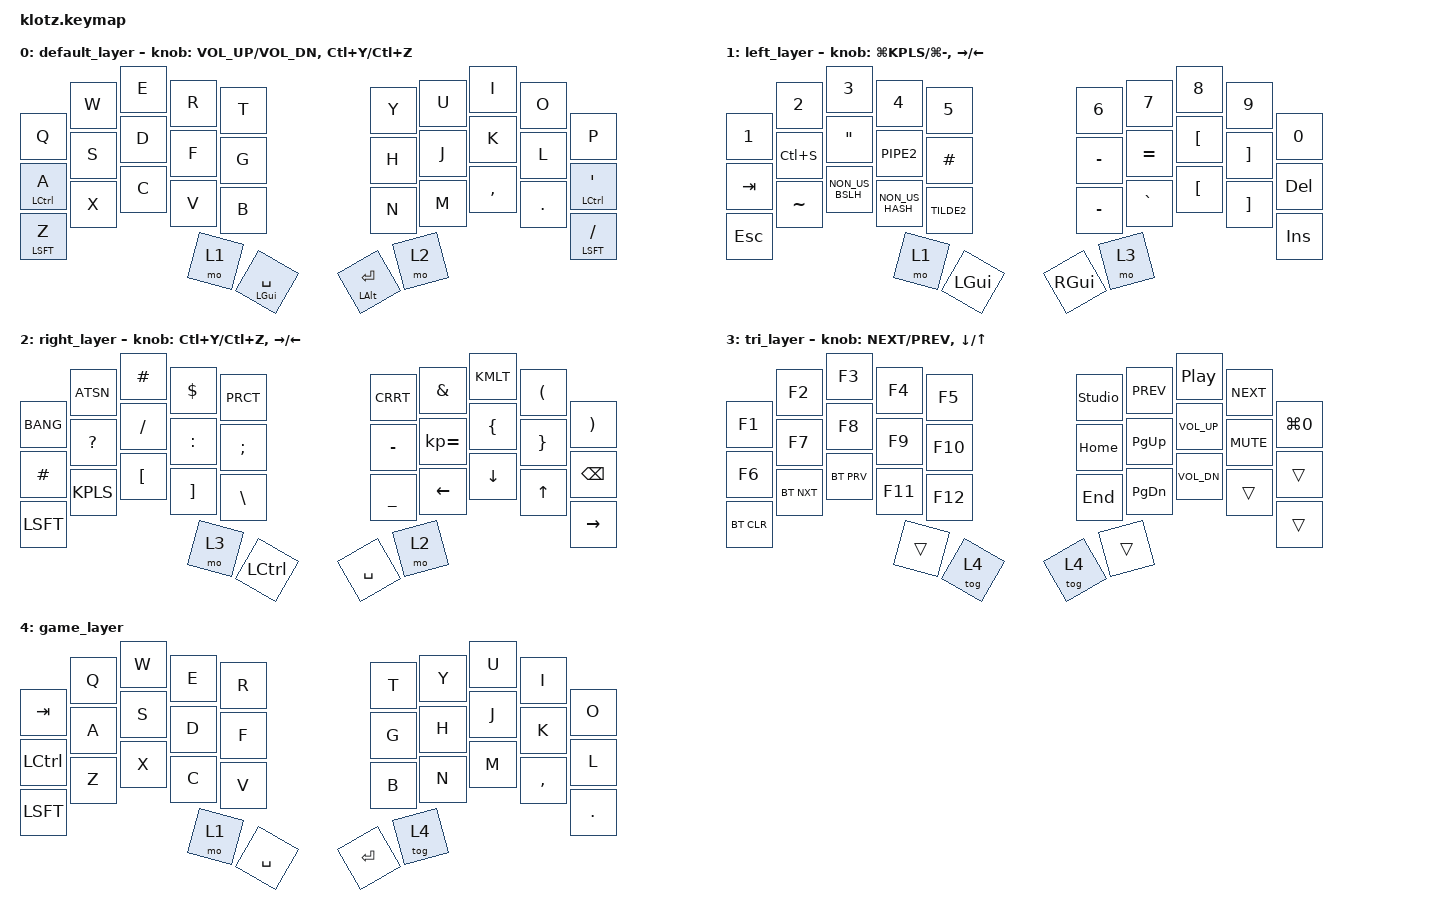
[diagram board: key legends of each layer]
/*
 * Copyright (c) 2020 The ZMK Contributors
 *
 * SPDX-License-Identifier: MIT
 */

#include <behaviors.dtsi>
#include <dt-bindings/zmk/keys.h>
#include <dt-bindings/zmk/bt.h>
#include <dt-bindings/zmk/outputs.h>
#include <dt-bindings/zmk/backlight.h>


&mt {
  quick-tap-ms = <100>;
  global-quick-tap;
  flavor = "tap-preferred";
  tapping-term-ms = <170>;
};

/ {
  keymap {
    compatible = "zmk,keymap";
    display-name = "BASE";
    default_layer {
      bindings = <
        &kp Q      &kp W &kp E &kp R &kp T        &kp Y        &kp U &kp I    &kp O   &kp P
        &mt LCTL A &kp S &kp D &kp F &kp G        &kp H        &kp J &kp K    &kp L   &mt LCTL QUOT
        &mt LSFT Z &kp X &kp C &kp V &kp B        &kp N        &kp M &kp CMMA &kp DOT &mt LSFT FSLH
                               &mo 1 &mt LGUI SPC &mt LALT RET &mo 2
      >;
            sensor-bindings = <&inc_dec_kp C_VOL_UP C_VOL_DN &inc_dec_kp LC(Y) LC(Z)>;
    };

    display-name = "LEFT";
    left_layer {
      bindings = <
        &kp NUM_1 &kp NUM_2 &kp NUM_3       &kp NUM_4       &kp NUM_5  &kp NUM_6 &kp NUM_7 &kp NUM_8 &kp NUM_9 &kp NUM_0
        &kp TAB   &kp LC(S) &kp DQT         &kp PIPE2       &kp HASH   &kp MINUS &kp EQL   &kp LBKT  &kp RBKT  &kp DEL
        &kp ESC   &kp TILDE &kp NON_US_BSLH &kp NON_US_HASH &kp TILDE2 &kp MINUS &kp GRAVE &kp LBKT  &kp RBKT  &kp INS
                                            &mo 1           &kp LGUI   &kp RGUI  &mo 3
      >;
            sensor-bindings = <&inc_dec_kp LG(KPLS) LG(MINUS) &inc_dec_kp RIGHT LEFT>;
    };

    display-name = "RIGHT";
    right_layer {
      bindings = <
        &kp BANG &kp ATSN  &kp HASH &kp DLLR &kp PRCT &kp CRRT  &kp AMPS     &kp KMLT &kp LPRN &kp RPRN
        &kp HASH &kp QMARK &kp FSLH &kp COLN &kp SCLN &kp MINUS &kp KP_EQUAL &kp LBRC &kp RBRC &kp BKSP
        &kp LSFT &kp KPLS  &kp LBKT &kp RBKT &kp BSLH &kp UNDER &kp LEFT     &kp DOWN &kp UP   &kp RIGHT
                                    &mo 3    &kp LCTL &kp SPC   &mo 2
      >;
            sensor-bindings = <&inc_dec_kp LC(Y) LC(Z) &inc_dec_kp RIGHT LEFT>;
    };

    display-name = "ADJ";
    tri_layer {
      bindings = <
        &kp F1     &kp F2     &kp F3     &kp F4  &kp F5  &studio_unlock  &kp C_PREV &kp C_PLAY_PAUSE &kp C_NEXT &kp LG(NUM_0) 
        &kp F6     &kp F7     &kp F8     &kp F9  &kp F10 &kp HOME        &kp PG_UP  &kp C_VOL_UP     &kp C_MUTE &trans
        &bt BT_CLR &bt BT_NXT &bt BT_PRV &kp F11 &kp F12 &kp END         &kp PG_DN  &kp C_VOL_DN     &trans     &trans
                                         &trans  &tog 4  &tog 4          &trans
      >;
            sensor-bindings = <&inc_dec_kp C_NEXT C_PREV &inc_dec_kp DOWN UP>;
    };

    display-name = "GAME";
    game_layer {
      bindings = <
        &kp TAB  &kp Q &kp W &kp E &kp R   &kp T   &kp Y &kp U &kp I    &kp O
        &kp LCTL &kp A &kp S &kp D &kp F   &kp G   &kp H &kp J &kp K    &kp L
        &kp LSFT &kp Z &kp X &kp C &kp V   &kp B   &kp N &kp M &kp CMMA &kp DOT
                             &mo 1 &kp SPC &kp RET &tog 4
      >;
    };
  };

  combos {
    compatible = "zmk,combos";
    combo_esc{
      timeout-ms = <50>;
      bindings = <&kp ESC>;
      key-positions = <0 1>;
    };

    combo_tab{
      timeout-ms = <50>;
      bindings = <&kp TAB>;
      key-positions = <10 11>;
      layers = <0 1 2 3>;
    };

    combo_ralt{
      timeout-ms = <50>;
      bindings = <&kp RALT>;
      key-positions = <17 16>;
      layers = <0 1 2 3>;
    };

    combo_lalt{
      timeout-ms = <50>;
      bindings = <&kp LALT>;
      key-positions = <11 12>;
      layers = <0 1 2 3>;
    };

    combo_lgui{
      timeout-ms = <50>;
      bindings = <&kp LGUI>;
      key-positions = <12 13>;
      layers = <0 1 2 3>;
    };

    combo_rgui{
      timeout-ms = <50>;
      bindings = <&kp RGUI>;
      key-positions = <17 18>;
      layers = <0 1 2 3>;
    };
  };
}; 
